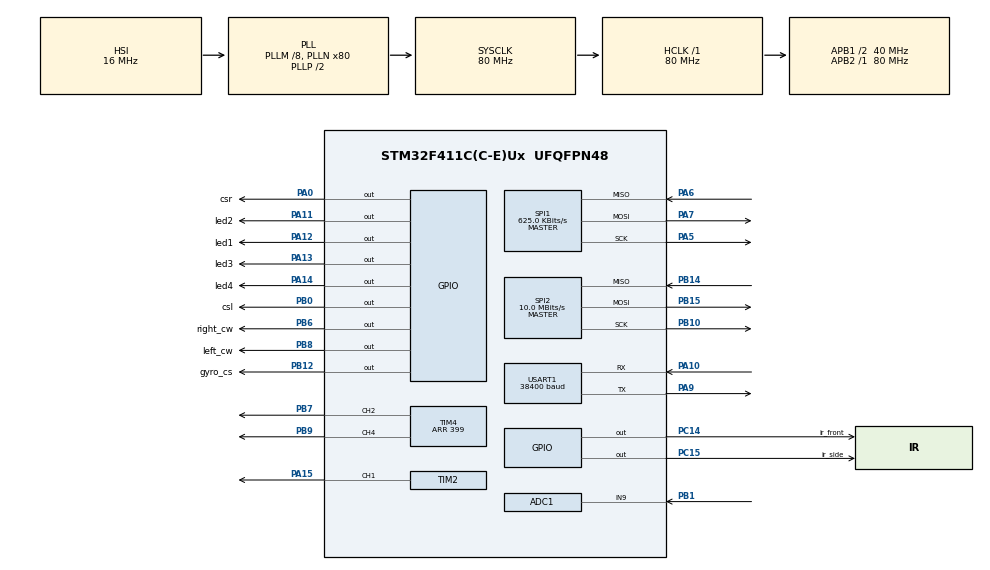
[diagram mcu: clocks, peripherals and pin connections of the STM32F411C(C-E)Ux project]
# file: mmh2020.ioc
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ADC1.Channel-38\#ChannelRegularConversion=ADC_CHANNEL_9
ADC1.ClockPrescaler=ADC_CLOCK_SYNC_PCLK_DIV4
ADC1.ContinuousConvMode=DISABLE
ADC1.DMAContinuousRequests=DISABLE
ADC1.DataAlign=ADC_DATAALIGN_RIGHT
ADC1.DiscontinuousConvMode=DISABLE
ADC1.EOCSelection=ADC_EOC_SINGLE_CONV
ADC1.EnableAnalogWatchDog=false
ADC1.ExternalTrigConv=ADC_SOFTWARE_START
ADC1.ExternalTrigConvEdge=ADC_EXTERNALTRIGCONVEDGE_NONE
ADC1.InjNumberOfConversion=0
ADC1.NbrOfConversion=1
ADC1.NbrOfConversionFlag=1
ADC1.Rank-38\#ChannelRegularConversion=1
ADC1.Resolution=ADC_RESOLUTION_12B
ADC1.SamplingTime-38\#ChannelRegularConversion=ADC_SAMPLETIME_3CYCLES
ADC1.ScanConvMode=DISABLE
ADC1.master=1
Mcu.Family=STM32F4
Mcu.Name=STM32F411C(C-E)Ux
Mcu.Package=UFQFPN48
NVIC.PriorityGroup=NVIC_PRIORITYGROUP_4
PA0-WKUP.GPIO_Label=csr
PA0-WKUP.GPIO_ModeDefaultOutputPP=GPIO_MODE_OUTPUT_PP
PA0-WKUP.GPIO_PuPd=GPIO_NOPULL
PA0-WKUP.GPIO_Speed=GPIO_SPEED_FREQ_LOW
PA0-WKUP.PinState=GPIO_PIN_RESET
PA0-WKUP.Signal=GPIO_Output
PA10.Mode=Asynchronous
PA10.Signal=USART1_RX
PA11.GPIO_Label=led2
PA11.GPIO_ModeDefaultOutputPP=GPIO_MODE_OUTPUT_PP
PA11.GPIO_PuPd=GPIO_NOPULL
PA11.GPIO_Speed=GPIO_SPEED_FREQ_LOW
PA11.PinState=GPIO_PIN_RESET
PA11.Signal=GPIO_Output
PA12.GPIO_Label=led1
PA12.GPIO_ModeDefaultOutputPP=GPIO_MODE_OUTPUT_PP
PA12.GPIO_PuPd=GPIO_NOPULL
PA12.GPIO_Speed=GPIO_SPEED_FREQ_LOW
PA12.PinState=GPIO_PIN_RESET
PA12.Signal=GPIO_Output
PA13.GPIO_Label=led3
PA13.GPIO_ModeDefaultOutputPP=GPIO_MODE_OUTPUT_PP
PA13.GPIO_PuPd=GPIO_NOPULL
PA13.GPIO_Speed=GPIO_SPEED_FREQ_LOW
PA13.PinState=GPIO_PIN_RESET
PA13.Signal=GPIO_Output
PA14.GPIO_Label=led4
PA14.GPIO_ModeDefaultOutputPP=GPIO_MODE_OUTPUT_PP
PA14.GPIO_PuPd=GPIO_NOPULL
PA14.GPIO_Speed=GPIO_SPEED_FREQ_LOW
PA14.PinState=GPIO_PIN_RESET
PA14.Signal=GPIO_Output
PA15.Signal=S_TIM2_CH1_ETR
PA5.Mode=Full_Duplex_Master
PA5.Signal=SPI1_SCK
PA6.Mode=Full_Duplex_Master
PA6.Signal=SPI1_MISO
PA7.Mode=Full_Duplex_Master
PA7.Signal=SPI1_MOSI
PA9.Mode=Asynchronous
PA9.Signal=USART1_TX
PB0.GPIO_Label=csl
PB0.GPIO_ModeDefaultOutputPP=GPIO_MODE_OUTPUT_PP
PB0.GPIO_PuPd=GPIO_NOPULL
PB0.GPIO_Speed=GPIO_SPEED_FREQ_LOW
PB0.PinState=GPIO_PIN_RESET
PB0.Signal=GPIO_Output
PB1.Signal=ADCx_IN9
PB10.Mode=Full_Duplex_Master
PB10.Signal=SPI2_SCK
PB12.GPIO_Label=gyro_cs
PB12.GPIO_ModeDefaultOutputPP=GPIO_MODE_OUTPUT_PP
PB12.GPIO_PuPd=GPIO_NOPULL
PB12.GPIO_Speed=GPIO_SPEED_FREQ_LOW
PB12.PinState=GPIO_PIN_RESET
PB12.Signal=GPIO_Output
PB14.Mode=Full_Duplex_Master
PB14.Signal=SPI2_MISO
PB15.Mode=Full_Duplex_Master
PB15.Signal=SPI2_MOSI
PB6.GPIO_Label=right_cw
PB6.GPIO_ModeDefaultOutputPP=GPIO_MODE_OUTPUT_PP
PB6.GPIO_PuPd=GPIO_NOPULL
PB6.GPIO_Speed=GPIO_SPEED_FREQ_LOW
PB6.PinState=GPIO_PIN_RESET
PB6.Signal=GPIO_Output
PB7.Signal=S_TIM4_CH2
PB8.GPIO_Label=left_cw
PB8.GPIO_ModeDefaultOutputPP=GPIO_MODE_OUTPUT_PP
PB8.GPIO_PuPd=GPIO_NOPULL
PB8.GPIO_Speed=GPIO_SPEED_FREQ_LOW
PB8.PinState=GPIO_PIN_RESET
PB8.Signal=GPIO_Output
PB9.Signal=S_TIM4_CH4
PC14-OSC32_IN.GPIO_Label=ir_front
PC14-OSC32_IN.GPIO_ModeDefaultOutputPP=GPIO_MODE_OUTPUT_PP
PC14-OSC32_IN.GPIO_PuPd=GPIO_NOPULL
PC14-OSC32_IN.GPIO_Speed=GPIO_SPEED_FREQ_LOW
PC14-OSC32_IN.PinState=GPIO_PIN_RESET
PC14-OSC32_IN.Signal=GPIO_Output
PC15-OSC32_OUT.GPIO_Label=ir_side
PC15-OSC32_OUT.Signal=GPIO_Output
ProjectManager.HeapSize=0x200
ProjectManager.StackSize=0x400
ProjectManager.TargetToolchain=Makefile
RCC.48MHZClocksFreq_Value=40000000
RCC.AHBFreq_Value=80000000
RCC.APB1CLKDivider=RCC_HCLK_DIV2
RCC.APB1Freq_Value=40000000
RCC.APB1TimFreq_Value=80000000
RCC.APB2Freq_Value=80000000
RCC.APB2TimFreq_Value=80000000
RCC.CortexFreq_Value=80000000
RCC.HCLKFreq_Value=80000000
RCC.HSE_VALUE=25000000
RCC.HSI_VALUE=16000000
RCC.LSE_VALUE=32768
RCC.PLLM=8
RCC.PLLN=80
RCC.SYSCLKFreq_VALUE=80000000
RCC.SYSCLKSource=RCC_SYSCLKSOURCE_PLLCLK
RCC.VCOOutputFreq_Value=160000000
SH.ADCx_IN9.0=ADC1_IN9,IN9
SH.S_TIM2_CH1_ETR.0=TIM2_CH1,PWM Generation1 CH1
SH.S_TIM4_CH2.0=TIM4_CH2,PWM Generation2 CH2
SH.S_TIM4_CH4.0=TIM4_CH4,PWM Generation4 CH4
SPI1.BaudRatePrescaler=SPI_BAUDRATEPRESCALER_128
SPI1.CLKPhase=SPI_PHASE_2EDGE
SPI1.CalculateBaudRate=625.0 KBits/s
SPI1.DataSize=SPI_DATASIZE_16BIT
SPI1.Direction=SPI_DIRECTION_2LINES
SPI1.Mode=SPI_MODE_MASTER
SPI1.VirtualType=VM_MASTER
SPI2.BaudRatePrescaler=SPI_BAUDRATEPRESCALER_4
SPI2.CLKPhase=SPI_PHASE_2EDGE
SPI2.CLKPolarity=SPI_POLARITY_HIGH
SPI2.CalculateBaudRate=10.0 MBits/s
SPI2.Direction=SPI_DIRECTION_2LINES
SPI2.Mode=SPI_MODE_MASTER
SPI2.VirtualType=VM_MASTER
TIM2.Channel-PWM\ Generation1\ CH1=TIM_CHANNEL_1
TIM2.Period=10
TIM4.Channel-PWM\ Generation2\ CH2=TIM_CHANNEL_2
TIM4.Channel-PWM\ Generation4\ CH4=TIM_CHANNEL_4
TIM4.Period=399
USART1.BaudRate=38400
USART1.VirtualMode=VM_ASYNC
board=mmh2020

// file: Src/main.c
/**
  ******************************************************************************
  * @file           : main.c
  * @brief          : Main program body
  ******************************************************************************
  ** This notice applies to any and all portions of this file
  * that are not between comment pairs USER CODE BEGIN and
  * USER CODE END. Other portions of this file, whether
  * inserted by the user or by software development tools
  * are owned by their respective copyright owners.
  *
  * COPYRIGHT(c) 2021 STMicroelectronics
  *
  * Redistribution and use in source and binary forms, with or without modification,
  * are permitted provided that the following conditions are met:
  *   1. Redistributions of source code must retain the above copyright notice,
  *      this list of conditions and the following disclaimer.
  *   2. Redistributions in binary form must reproduce the above copyright notice,
  *      this list of conditions and the following disclaimer in the documentation
  *      and/or other materials provided with the distribution.
  *   3. Neither the name of STMicroelectronics nor the names of its contributors
  *      may be used to endorse or promote products derived from this software
  *      without specific prior written permission.
  *
  * THIS SOFTWARE IS PROVIDED BY THE COPYRIGHT HOLDERS AND CONTRIBUTORS "AS IS"
  * AND ANY EXPRESS OR IMPLIED WARRANTIES, INCLUDING, BUT NOT LIMITED TO, THE
  * IMPLIED WARRANTIES OF MERCHANTABILITY AND FITNESS FOR A PARTICULAR PURPOSE ARE
  * DISCLAIMED. IN NO EVENT SHALL THE COPYRIGHT HOLDER OR CONTRIBUTORS BE LIABLE
  * FOR ANY DIRECT, INDIRECT, INCIDENTAL, SPECIAL, EXEMPLARY, OR CONSEQUENTIAL
  * DAMAGES (INCLUDING, BUT NOT LIMITED TO, PROCUREMENT OF SUBSTITUTE GOODS OR
  * SERVICES; LOSS OF USE, DATA, OR PROFITS; OR BUSINESS INTERRUPTION) HOWEVER
  * CAUSED AND ON ANY THEORY OF LIABILITY, WHETHER IN CONTRACT, STRICT LIABILITY,
  * OR TORT (INCLUDING NEGLIGENCE OR OTHERWISE) ARISING IN ANY WAY OUT OF THE USE
  * OF THIS SOFTWARE, EVEN IF ADVISED OF THE POSSIBILITY OF SUCH DAMAGE.
  *
  ******************************************************************************
  */
#include "main.h"
#include "stm32f4xx_hal.h"
#include "adc.h"
#include "spi.h"
#include "tim.h"
#include "usart.h"
#include "gpio.h"

/* USER CODE BEGIN Includes */
#include "variable.h"
#include "function.h"

#define DIAAGC 0x3ffc
/* USER CODE END Includes */

/* USER CODE BEGIN PV */
/* Private variables ---------------------------------------------------------*/
#ifdef __GNUC__
#define PUTCHAR_PROTOTYPE int __io_putchar(int ch)
#else
#define PUTCHAR_PROTOTYPE int fputc(int ch, FILE *f)
#endif /* __GNUC__ */
void __io_putchar(uint8_t ch) {
  HAL_UART_Transmit(&huart1, &ch, 1, 1);
}
/* USER CODE END PV */

void SystemClock_Config(void);

/* USER CODE BEGIN PFP */
/* Private function prototypes -----------------------------------------------*/

/* USER CODE END PFP */

int main(void)
{

  /* MCU Configuration----------------------------------------------------------*/

  /* Reset of all peripherals, Initializes the Flash interface and the Systick. */
  HAL_Init();

  /* Configure the system clock */
  SystemClock_Config();

  /* Initialize all configured peripherals */
  MX_GPIO_Init();
  MX_SPI1_Init();
  MX_SPI2_Init();
  MX_TIM2_Init();
  MX_TIM4_Init();
  MX_USART1_UART_Init();
  MX_ADC1_Init();
  /* USER CODE BEGIN 2 */
  machine_init();
  set_enc();
  distance_l=0;
  distance_r=0;
  printf("distance_l\tdistance_r\r\n");
  /* USER CODE END 2 */

  /* Infinite loop */
  /* USER CODE BEGIN WHILE */
  while (1)
  {
    //MotorControl(100,100);
    get_enc_val();
    printf("%f\t%f\r",distance_l,distance_r);

  /* USER CODE END WHILE */

  }

}

void SystemClock_Config(void)
{

  RCC_OscInitTypeDef RCC_OscInitStruct;
  RCC_ClkInitTypeDef RCC_ClkInitStruct;

    /**Configure the main internal regulator output voltage
    */
  __HAL_RCC_PWR_CLK_ENABLE();

  __HAL_PWR_VOLTAGESCALING_CONFIG(PWR_REGULATOR_VOLTAGE_SCALE1);

    /**Initializes the CPU, AHB and APB busses clocks
    */
  RCC_OscInitStruct.OscillatorType = RCC_OSCILLATORTYPE_HSI;
  RCC_OscInitStruct.HSIState = RCC_HSI_ON;
  RCC_OscInitStruct.HSICalibrationValue = 16;
  RCC_OscInitStruct.PLL.PLLState = RCC_PLL_ON;
  RCC_OscInitStruct.PLL.PLLSource = RCC_PLLSOURCE_HSI;
  RCC_OscInitStruct.PLL.PLLM = 8;
  RCC_OscInitStruct.PLL.PLLN = 80;
  RCC_OscInitStruct.PLL.PLLP = RCC_PLLP_DIV2;
  RCC_OscInitStruct.PLL.PLLQ = 4;
  if (HAL_RCC_OscConfig(&RCC_OscInitStruct) != HAL_OK)
  {
    _Error_Handler(__FILE__, __LINE__);
  }

    /**Initializes the CPU, AHB and APB busses clocks
    */
  RCC_ClkInitStruct.ClockType = RCC_CLOCKTYPE_HCLK|RCC_CLOCKTYPE_SYSCLK
                              |RCC_CLOCKTYPE_PCLK1|RCC_CLOCKTYPE_PCLK2;
  RCC_ClkInitStruct.SYSCLKSource = RCC_SYSCLKSOURCE_PLLCLK;
  RCC_ClkInitStruct.AHBCLKDivider = RCC_SYSCLK_DIV1;
  RCC_ClkInitStruct.APB1CLKDivider = RCC_HCLK_DIV2;
  RCC_ClkInitStruct.APB2CLKDivider = RCC_HCLK_DIV1;

  if (HAL_RCC_ClockConfig(&RCC_ClkInitStruct, FLASH_LATENCY_2) != HAL_OK)
  {
    _Error_Handler(__FILE__, __LINE__);
  }

    /**Configure the Systick interrupt time
    */
  HAL_SYSTICK_Config(HAL_RCC_GetHCLKFreq()/1000);

    /**Configure the Systick
    */
  HAL_SYSTICK_CLKSourceConfig(SYSTICK_CLKSOURCE_HCLK);

  /* SysTick_IRQn interrupt configuration */
  HAL_NVIC_SetPriority(SysTick_IRQn, 0, 0);
}

void _Error_Handler(char *file, int line)
{
  while(1)
  {
  }
}

/************************ (C) COPYRIGHT STMicroelectronics *****END OF FILE****/
